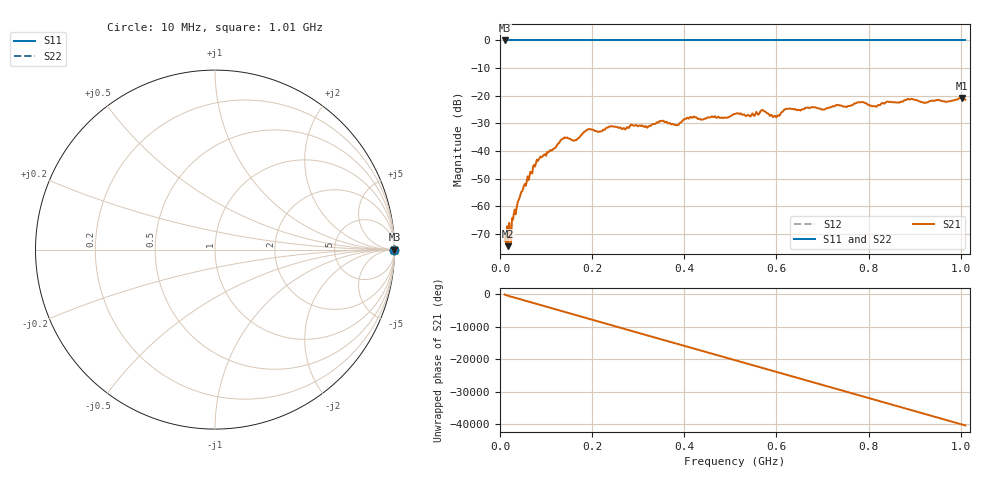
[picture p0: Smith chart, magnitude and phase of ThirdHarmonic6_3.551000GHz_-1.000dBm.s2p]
! 8/17/2025 11:43:18 AM
! C:\ANRITSUVNA\TEMP\TEMP.S2P
! CHANNEL.1
! TR.MEASUREMENT
! RAW.DATA
! RF.CORRECTION.OFF
! AVERAGING.OFF
! IF.BANDWIDTH: 5KHZ
! SWEEPTYPE:  FREQ.SWEEP(Linear)
! Reference Plane Port Info
! PORT:  PORT1  PORT2
! DISTANCE:  0  m  0  m
! TIME:  0  s  0  s
! PHASE.OFFSET:  0  deg.  0  deg.
! LOSS:  0  dB  0  dB
! REF.LOSS:  0  dB  0  dB
! REF.FREQ:  0  Hz  0  Hz
! Power Info
! POWER:  -20  dBm  -20  dBm
! EFF.POWER:  -20  dBm  -20  dBm
! SOURCE.ATTEN:  0  dB  0  dB
! TEST.ATTEN:  0  dB  0  dB
# GHZ S RI R 50.0
! FREQ.GHZ  S11RE  S11IM  S21RE  S21IM  S12RE  S12IM  S22RE  S22IM
!; PortSelection: Port_12
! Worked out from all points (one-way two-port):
!   501 points, 10 MHz to 1.01 GHz, reference 50 ohm
!   highest |S21| = -20.77 dB at 1.002 GHz (marker M1); lowest = -74.4 dB at 18 MHz (marker M2)
!   lowest |S11| = 0.0 dB at 10 MHz (marker M3)
!   |S11| at or under -10 dB: nowhere
!   |S22| runs from 0.0 to 0.0 dB; largest |S21 - S12| = 1.1
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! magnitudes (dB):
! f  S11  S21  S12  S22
! 10 MHz  0.0  -72.4  0.0  0.0
! 18 MHz  0.0  -74.4  0.0  0.0
! 22 MHz  0.0  -71.2  0.0  0.0
! 30 MHz  0.0  -62.7  0.0  0.0
! 48 MHz  0.0  -54.6  0.0  0.0
! 84 MHz  0.0  -43.1  0.0  0.0
! 136 MHz  0.0  -35.7  0.0  0.0
! 162 MHz  0.0  -36.2  0.0  0.0
! 178 MHz  0.0  -33.9  0.0  0.0
! 194 MHz  0.0  -32.1  0.0  0.0
! 322 MHz  0.0  -31.1  0.0  0.0
! 344 MHz  0.0  -29.7  0.0  0.0
! 384 MHz  0.0  -30.6  0.0  0.0
! 416 MHz  0.0  -28.0  0.0  0.0
! 510 MHz  0.0  -26.6  0.0  0.0
! 570 MHz  0.0  -25.2  0.0  0.0
! 596 MHz  0.0  -27.2  0.0  0.0
! 622 MHz  0.0  -24.7  0.0  0.0
! 678 MHz  0.0  -24.1  0.0  0.0
! 844 MHz  0.0  -22.2  0.0  0.0
! 1.002 GHz  0.0  -20.8  0.0  0.0
! 1.01 GHz  0.0  -21.4  0.0  0.0
